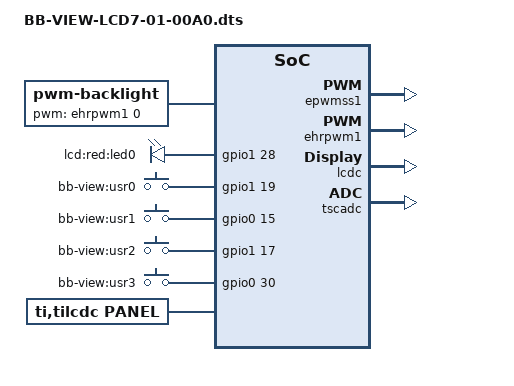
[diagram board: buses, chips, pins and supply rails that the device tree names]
/*
 * Copyright (C) 2012 Texas Instruments Incorporated - http://www.ti.com/
 *
 * This program is free software; you can redistribute it and/or modify
 * it under the terms of the GNU General Public License version 2 as
 * published by the Free Software Foundation.
 */
/dts-v1/;
/plugin/;

#include <dt-bindings/board/am335x-bbw-bbb-base.h>
#include <dt-bindings/gpio/gpio.h>
#include <dt-bindings/pinctrl/am33xx.h>

/ {
	compatible = "ti,beaglebone", "ti,beaglebone-black", "ti,beaglebone-green";

	/* identification */
	part-number = "BB-VIEW-LCD7-01";
	version = "00A0";

	/* state the resources this cape uses */
	exclusive-use =
		/* the pin header uses */
		"P8.45",	/* lcd: lcd_data0 */
		"P8.46",	/* lcd: lcd_data1 */
		"P8.43",	/* lcd: lcd_data2 */
		"P8.44",	/* lcd: lcd_data3 */
		"P8.41",	/* lcd: lcd_data4 */
		"P8.42",	/* lcd: lcd_data5 */
		"P8.39",	/* lcd: lcd_data6 */
		"P8.40",	/* lcd: lcd_data7 */
		"P8.37",	/* lcd: lcd_data8 */
		"P8.38",	/* lcd: lcd_data9 */
		"P8.36",	/* lcd: lcd_data10 */
		"P8.34",	/* lcd: lcd_data11 */
		"P8.35",	/* lcd: lcd_data12 */
		"P8.33",	/* lcd: lcd_data13 */
		"P8.31",	/* lcd: lcd_data14 */
		"P8.32",	/* lcd: lcd_data15 */

		"P8.15",	/* gpmc_ad15.lcd_data16 */
		"P8.16",	/* gpmc_ad14.lcd_data17 */
		"P8.11",	/* gpmc_ad13.lcd_data18 */
		"P8.12",	/* gpmc_ad12.lcd_data19 */
		"P8.17",	/* gpmc_ad11.lcd_data20 */
		"P8.14",	/* gpmc_ad10.lcd_data21 */
		"P8.13",	/* gpmc_ad9.lcd_data22 */
		"P8.19",	/* gpmc_ad8.lcd_data23 */

		"P8.27",	/* lcd: lcd_vsync */
		"P8.29",	/* lcd: lcd_hsync */
		"P8.28",	/* lcd: lcd_pclk */
		"P8.30",	/* lcd: lcd_ac_bias_en */

		"P9.12",	/* led: gpio1_28 */

		"P9.14",	/* pwm: ehrpwm1a */

		"P9.15",	/* keys: gpio1_16 */
		"P9.23",	/* keys: gpio1_17 */
		"P9.16",	/* keys: gpio1_19 */
		"P9.21",	/* keys: gpio0_3 */

		"gpio3_19",
		"gpio1_28",
		"gpio1_16",
		"gpio1_17",
		"gpio1_19",
		"gpio0_3",
		/* "gpio0_12", */
		"lcd",
		"ehrpwm1a";

	fragment@0 {
		target = <&am33xx_pinmux>;
		__overlay__ {

			bb_lcd_led_pins: pinmux_bb_lcd_led_pins {
				pinctrl-single,pins = <
					BONE_P9_12 (PIN_INPUT | MUX_MODE7) /* gpmc_be1n.gpio1_28, INPUT | PULLDIS | MODE7 */
					/* I2C cape eeprom */
					/* BONE_P9_20 (PIN_INPUT | MUX_MODE7) */ /* uart1_ctsn.gpio0_12,INPUT | PULLDIS | MODE7 */
				>;
			};

			bb_lcd_pwm_backlight_pins: pinmux_bb_lcd_pwm_backlight_pins {
				pinctrl-single,pins = <
					BONE_P9_14 (PIN_OUTPUT_PULLDOWN | MUX_MODE6) /* gpmc_a2.ehrpwm1a */
				>;
			};

			bb_lcd_lcd_pins: pinmux_bb_lcd_lcd_pins {
				pinctrl-single,pins = <
					BONE_P8_45 (PIN_OUTPUT | MUX_MODE0) /* lcd_data0.lcd_data0 */
					BONE_P8_46 (PIN_OUTPUT | MUX_MODE0) /* lcd_data1.lcd_data1 */
					BONE_P8_43 (PIN_OUTPUT | MUX_MODE0) /* lcd_data2.lcd_data2 */
					BONE_P8_44 (PIN_OUTPUT | MUX_MODE0) /* lcd_data3.lcd_data3 */
					BONE_P8_41 (PIN_OUTPUT | MUX_MODE0) /* lcd_data4.lcd_data4 */
					BONE_P8_42 (PIN_OUTPUT | MUX_MODE0) /* lcd_data5.lcd_data5 */
					BONE_P8_39 (PIN_OUTPUT | MUX_MODE0) /* lcd_data6.lcd_data6 */
					BONE_P8_40 (PIN_OUTPUT | MUX_MODE0) /* lcd_data7.lcd_data7 */
					BONE_P8_37 (PIN_OUTPUT | MUX_MODE0) /* lcd_data8.lcd_data8 */
					BONE_P8_38 (PIN_OUTPUT | MUX_MODE0) /* lcd_data9.lcd_data9 */
					BONE_P8_36 (PIN_OUTPUT | MUX_MODE0) /* lcd_data10.lcd_data10 */
					BONE_P8_34 (PIN_OUTPUT | MUX_MODE0) /* lcd_data11.lcd_data11 */
					BONE_P8_35 (PIN_OUTPUT | MUX_MODE0) /* lcd_data12.lcd_data12 */
					BONE_P8_33 (PIN_OUTPUT | MUX_MODE0) /* lcd_data13.lcd_data13 */
					BONE_P8_31 (PIN_OUTPUT | MUX_MODE0) /* lcd_data14.lcd_data14 */
					BONE_P8_32 (PIN_OUTPUT | MUX_MODE0) /* lcd_data15.lcd_data15 */

					BONE_P8_15 (PIN_OUTPUT | MUX_MODE1) /* gpmc_ad15.lcd_data16 */
					BONE_P8_16 (PIN_OUTPUT | MUX_MODE1) /* gpmc_ad14.lcd_data17 */
					BONE_P8_11 (PIN_OUTPUT | MUX_MODE1) /* gpmc_ad13.lcd_data18 */
					BONE_P8_12 (PIN_OUTPUT | MUX_MODE1) /* gpmc_ad12.lcd_data19 */
					BONE_P8_17 (PIN_OUTPUT | MUX_MODE1) /* gpmc_ad11.lcd_data20 */
					BONE_P8_14 (PIN_OUTPUT | MUX_MODE1) /* gpmc_ad10.lcd_data21 */
					BONE_P8_13 (PIN_OUTPUT | MUX_MODE1) /* gpmc_ad9.lcd_data22 */
					BONE_P8_19 (PIN_OUTPUT | MUX_MODE1) /* gpmc_ad8.lcd_data23 */

					BONE_P8_27 (PIN_OUTPUT | MUX_MODE0) /* lcd_vsync.lcd_vsync */
					BONE_P8_29 (PIN_OUTPUT | MUX_MODE0) /* lcd_hsync.lcd_hsync */
					BONE_P8_28 (PIN_OUTPUT | MUX_MODE0) /* lcd_pclk.lcd_pclk */
					BONE_P8_30 (PIN_OUTPUT | MUX_MODE0) /* lcd_ac_bias_en.lcd_ac_bias_en */
				>;
			};

			bb_lcd_keymap_pins: pinmux_bb_lcd_keymap_pins {
				pinctrl-single,pins = <
					BONE_P9_16 (PIN_INPUT | MUX_MODE7) /* gpmc_a3.gpio1_19 */
					BONE_P9_24 (PIN_INPUT | MUX_MODE7) /* uart1_txd.gpio0_15 */
					BONE_P9_23 (PIN_INPUT | MUX_MODE7) /* gpmc_a1.gpio1_17 */
					BONE_P9_11 (PIN_INPUT | MUX_MODE7) /* gpmc_wait0.gpio0_30 */
				>;
			};
		};
	};

	fragment@1 {
		target = <&epwmss1>;
		__overlay__ {
			status = "okay";
		};
	};

	fragment@2 {
		target = <&ehrpwm1>;
		__overlay__ {
			pinctrl-names = "default";
			pinctrl-0 = <&bb_lcd_pwm_backlight_pins>;
			status = "okay";
		};
	};

	fragment@3 {
		target = <&lcdc>;
		__overlay__ {
			status = "okay";
			blue-and-red-wiring = "crossed";
		};
	};

	fragment@4 {
		target = <&tscadc>;
		__overlay__ {

			status = "okay";
			tsc {
				ti,wires = <4>;
				ti,x-plate-resistance = <200>;
				ti,coordinate-readouts = <5>;
				ti,wire-config = <0x00 0x11 0x22 0x33>;
				ti,charge-delay = <0x400>;
			};

			adc {
				ti,adc-channels = <4 5 6 7>;
				ti,chan-step-opendelay = <0x098 0x3ffff 0x098 0x0>;
				ti,chan-step-sampledelay = <0xff 0x0 0xf 0x0>;
				ti,chan-step-avg = <16 2 4 8>;
			};
		};
	};

	fragment@5 {
		target-path="/";
		__overlay__ {

			/* avoid stupid warning */
			#address-cells = <1>;
			#size-cells = <1>;

			backlight {
				status = "okay";
				compatible = "pwm-backlight";
				pwms = <&ehrpwm1 0 500000 0>;
				brightness-levels = <
					0  1  2  3  4  5  6  7  8  9
					10 11 12 13 14 15 16 17 18 19
					20 21 22 23 24 25 26 27 28 29
					30 31 32 33 34 35 36 37 38 39
					40 41 42 43 44 45 46 47 48 49
					50 51 52 53 54 55 56 57 58 59
					60 61 62 63 64 65 66 67 68 69
					70 71 72 73 74 75 76 77 78 79
					80 81 82 83 84 85 86 87 88 89
					90 91 92 93 94 95 96 97 98 99
					100
				>;
				default-brightness-level = <100>;
			};

			gpio-leds-cape-lcd {
				compatible = "gpio-leds";
				pinctrl-names = "default";
				pinctrl-0 = <&bb_lcd_led_pins>;

				lcd-led0 {
					label = "lcd:red:led0";
					gpios = <&gpio1 28 0>;
					linux,default-trigger = "heartbeat";
					default-state = "off";
				};

/* I2C cape eeprom */
/*
				lcd-led1 {
					label = "lcd:green:led1";
					gpios = <&gpio0 12 0>;
					linux,default-trigger = "none";
					default-state = "off";
				};
*/
			};

			gpio_keys {
				compatible = "gpio-keys";
				pinctrl-names = "default";
				pinctrl-0 = <&bb_lcd_keymap_pins>;

				#address-cells = <1>;
				#size-cells = <0>;

				button@1 {
					debounce_interval = <50>;
					linux,code = <0x100>;
					label = "bb-view:usr0";
					gpios = <&gpio1 19 0x0>;
					gpio-key,wakeup;
					autorepeat;
				};
				button@2 {
					debounce_interval = <50>;
					linux,code = <0x101>;
					label = "bb-view:usr1";
					gpios = <&gpio0 15 0x0>;
					gpio-key,wakeup;
					autorepeat;
				};
				button@3 {
					debounce_interval = <50>;
					linux,code = <0x102>;
					label = "bb-view:usr2";
					gpios = <&gpio1 17 0x0>;
					gpio-key,wakeup;
					autorepeat;
				};
				button@4 {
					debounce_interval = <50>;
					linux,code = <0x103>;
					label = "bb-view:usr3";
					gpios = <&gpio0 30 0x0>;
					gpio-key,wakeup;
					autorepeat;
				};
			};

			/* Embest 7 inch LCD cape: */
			panel {
				status = "okay";
				compatible = "ti,tilcdc,panel";
				pinctrl-names = "default";
				pinctrl-0 = <&bb_lcd_lcd_pins>;
				panel-info {
					ac-bias           = <255>;
					ac-bias-intrpt    = <0>;
					dma-burst-sz      = <16>;
					bpp               = <32>;
					fdd               = <0x80>;
					tft-alt-mode      = <0>;
					stn-565-mode      = <0>;
					mono-8bit-mode    = <0>;
					sync-edge         = <0>;
					sync-ctrl         = <1>;
					raster-order      = <0>;
					fifo-th           = <0>;
				};
				display-timings {
					native-mode = <&timing0>;
					timing0: 800x480 {
						clock-frequency = <30000000>;
						hactive = <800>;
						vactive = <480>;
						hfront-porch = <40>;
						hback-porch = <40>;
						hsync-len = <48>;
						vback-porch = <30>;
						vfront-porch = <13>;
						vsync-len = <3>;
						hsync-active = <0>;
						vsync-active  = <0>;
					};
				};
			};
		};
	};
};
